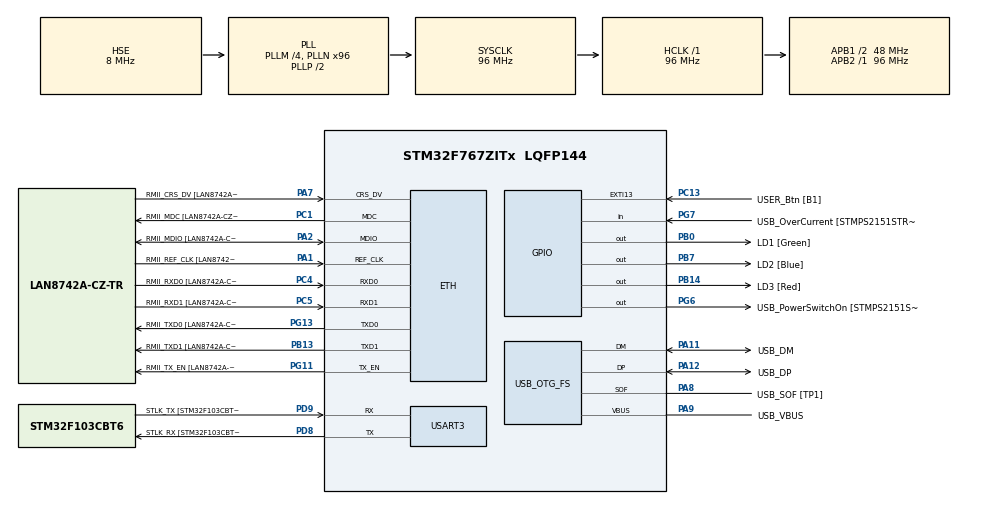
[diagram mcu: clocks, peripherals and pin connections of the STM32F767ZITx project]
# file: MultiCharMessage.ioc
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ETH.MediaInterface=HAL_ETH_RMII_MODE
ETH.PHY_Name=LAN8742A_PHY_ADDRESS
ETH.PHY_Value=0
ETH.PhyAddress=0
Mcu.Family=STM32F7
Mcu.Name=STM32F767ZITx
Mcu.Package=LQFP144
NVIC.PriorityGroup=NVIC_PRIORITYGROUP_4
NVIC.USART3_IRQn=true\:0\:0\:false\:false\:true\:true\:true\:true
PA1.GPIO_Label=RMII_REF_CLK [LAN8742A-CZ-TR_REFCLK0]
PA1.Mode=RMII
PA1.Signal=ETH_REF_CLK
PA10.GPIO_Label=USB_ID
PA10.Signal=USB_OTG_FS_ID
PA11.GPIO_Label=USB_DM
PA11.Mode=Device_Only
PA11.Signal=USB_OTG_FS_DM
PA12.GPIO_Label=USB_DP
PA12.Mode=Device_Only
PA12.Signal=USB_OTG_FS_DP
PA13.GPIO_Label=TMS
PA13.Mode=Serial_Wire
PA13.Signal=SYS_JTMS-SWDIO
PA14.GPIO_Label=TCK
PA14.Mode=Serial_Wire
PA14.Signal=SYS_JTCK-SWCLK
PA2.GPIO_Label=RMII_MDIO [LAN8742A-CZ-TR_MDIO]
PA2.Mode=RMII
PA2.Signal=ETH_MDIO
PA7.GPIO_Label=RMII_CRS_DV [LAN8742A-CZ-TR_CRS_DV]
PA7.Mode=RMII
PA7.Signal=ETH_CRS_DV
PA8.GPIO_Label=USB_SOF [TP1]
PA8.Mode=Activate_SOF_FS
PA8.Signal=USB_OTG_FS_SOF
PA9.GPIO_Label=USB_VBUS
PA9.Mode=Activate_VBUS
PA9.Signal=USB_OTG_FS_VBUS
PB0.GPIO_Label=LD1 [Green]
PB0.Signal=GPIO_Output
PB13.GPIO_Label=RMII_TXD1 [LAN8742A-CZ-TR_TXD1]
PB13.Mode=RMII
PB13.Signal=ETH_TXD1
PB14.GPIO_Label=LD3 [Red]
PB14.Signal=GPIO_Output
PB3.GPIO_Label=SWO
PB3.Signal=SYS_JTDO-SWO
PB7.GPIO_Label=LD2 [Blue]
PB7.Signal=GPIO_Output
PC1.GPIO_Label=RMII_MDC [LAN8742A-CZ-TR_MDC]
PC1.Mode=RMII
PC1.Signal=ETH_MDC
PC13.GPIO_Label=USER_Btn [B1]
PC13.Signal=GPXTI13
PC14/OSC32_IN.Mode=LSE-External-Oscillator
PC14/OSC32_IN.Signal=RCC_OSC32_IN
PC15/OSC32_OUT.Mode=LSE-External-Oscillator
PC15/OSC32_OUT.Signal=RCC_OSC32_OUT
PC4.GPIO_Label=RMII_RXD0 [LAN8742A-CZ-TR_RXD0]
PC4.Mode=RMII
PC4.Signal=ETH_RXD0
PC5.GPIO_Label=RMII_RXD1 [LAN8742A-CZ-TR_RXD1]
PC5.Mode=RMII
PC5.Signal=ETH_RXD1
PD8.GPIO_Label=STLK_RX [STM32F103CBT6_PA3]
PD8.Mode=Asynchronous
PD8.Signal=USART3_TX
PD9.GPIO_Label=STLK_TX [STM32F103CBT6_PA2]
PD9.Mode=Asynchronous
PD9.Signal=USART3_RX
PG11.GPIO_Label=RMII_TX_EN [LAN8742A-CZ-TR_TXEN]
PG11.Mode=RMII
PG11.Signal=ETH_TX_EN
PG13.GPIO_Label=RMII_TXD0 [LAN8742A-CZ-TR_TXD0]
PG13.Mode=RMII
PG13.Signal=ETH_TXD0
PG6.GPIO_Label=USB_PowerSwitchOn [STMPS2151STR_EN]
PG6.Signal=GPIO_Output
PG7.GPIO_Label=USB_OverCurrent [STMPS2151STR_FAULT]
PG7.Signal=GPIO_Input
PH0/OSC_IN.GPIO_Label=MCO [STM32F103CBT6_PA8]
PH0/OSC_IN.Mode=HSE-External-Clock-Source
PH0/OSC_IN.Signal=RCC_OSC_IN
PH1/OSC_OUT.Mode=HSE-External-Clock-Source
PH1/OSC_OUT.Signal=RCC_OSC_OUT
ProjectManager.HeapSize=0x200
ProjectManager.StackSize=0x400
ProjectManager.TargetToolchain=STM32CubeIDE
RCC.48MHZClocksFreq_Value=24000000
RCC.AHBFreq_Value=96000000
RCC.APB1CLKDivider=RCC_HCLK_DIV2
RCC.APB1Freq_Value=48000000
RCC.APB1TimFreq_Value=96000000
RCC.APB2Freq_Value=96000000
RCC.APB2TimFreq_Value=96000000
RCC.CortexFreq_Value=96000000
RCC.HCLKFreq_Value=96000000
RCC.HSE_VALUE=8000000
RCC.HSI_VALUE=16000000
RCC.PLLM=4
RCC.PLLMUL=RCC_PLL_MUL9
RCC.PLLN=96
RCC.PLLQ=4
RCC.PRESCALERUSB=RCC_USBCLKSOURCE_PLL_DIV1_5
RCC.SYSCLKFreq_VALUE=96000000
RCC.SYSCLKSource=RCC_SYSCLKSOURCE_PLLCLK
RCC.SYSCLKSourceVirtual=RCC_SYSCLKSOURCE_PLLCLK
RCC.USBFreq_Value=48000000
RCC.VCOOutputFreq_Value=192000000
USART3.VirtualMode-Asynchronous=VM_ASYNC
USB_OTG_FS.VirtualMode=Device_Only
board=NUCLEO-F767ZI

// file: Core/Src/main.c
/* USER CODE BEGIN Header */
/**
  ******************************************************************************
  * @file           : main.c
  * @brief          : Main program body
  ******************************************************************************
  * @attention
  *
  * Copyright (c) 2025 STMicroelectronics.
  * All rights reserved.
  *
  * This software is licensed under terms that can be found in the LICENSE file
  * in the root directory of this software component.
  * If no LICENSE file comes with this software, it is provided AS-IS.
  *
  ******************************************************************************
  */
/* USER CODE END Header */
#include "main.h"
#include "string.h"

#if defined ( __ICCARM__ ) /*!< IAR Compiler */
#pragma location=0x2007c000
ETH_DMADescTypeDef  DMARxDscrTab[ETH_RX_DESC_CNT]; /* Ethernet Rx DMA Descriptors */
#pragma location=0x2007c0a0
ETH_DMADescTypeDef  DMATxDscrTab[ETH_TX_DESC_CNT]; /* Ethernet Tx DMA Descriptors */

#elif defined ( __CC_ARM )  /* MDK ARM Compiler */

__attribute__((at(0x2007c000))) ETH_DMADescTypeDef  DMARxDscrTab[ETH_RX_DESC_CNT]; /* Ethernet Rx DMA Descriptors */
__attribute__((at(0x2007c0a0))) ETH_DMADescTypeDef  DMATxDscrTab[ETH_TX_DESC_CNT]; /* Ethernet Tx DMA Descriptors */

#elif defined ( __GNUC__ ) /* GNU Compiler */

ETH_DMADescTypeDef DMARxDscrTab[ETH_RX_DESC_CNT] __attribute__((section(".RxDecripSection"))); /* Ethernet Rx DMA Descriptors */
ETH_DMADescTypeDef DMATxDscrTab[ETH_TX_DESC_CNT] __attribute__((section(".TxDecripSection")));   /* Ethernet Tx DMA Descriptors */
#endif

ETH_TxPacketConfig TxConfig;

ETH_HandleTypeDef heth;

UART_HandleTypeDef huart3;

PCD_HandleTypeDef hpcd_USB_OTG_FS;

void SystemClock_Config(void);
static void MX_GPIO_Init(void);
static void MX_ETH_Init(void);
static void MX_USART3_UART_Init(void);
static void MX_USB_OTG_FS_PCD_Init(void);

/* USER CODE BEGIN 0 */
uint8_t rx_byte;
#define MAX_LEN 100
char rx_buffer[MAX_LEN];
uint8_t idx = 0;

void HAL_UART_RxCpltCallback(UART_HandleTypeDef *huart) {
    if (huart->Instance == USART3) {
        if (rx_byte == '\r' || rx_byte == '\n') {
            rx_buffer[idx] = '\0'; // null terminate
            HAL_UART_Transmit(&huart3, (uint8_t*)"\nYou said: ", 11, HAL_MAX_DELAY);
            HAL_UART_Transmit(&huart3, (uint8_t*)rx_buffer, strlen(rx_buffer), HAL_MAX_DELAY);
            HAL_UART_Transmit(&huart3, (uint8_t*)"\r\n", 2, HAL_MAX_DELAY);
            idx = 0; // reset buffer
        } else {
            rx_buffer[idx++] = rx_byte;
            if (idx >= MAX_LEN) idx = 0; // simple overflow protection
        }

        HAL_UART_Receive_IT(&huart3, &rx_byte, 1);
    }
}

/* USER CODE END 0 */

int main(void)
{

  /* MCU Configuration--------------------------------------------------------*/

  /* Reset of all peripherals, Initializes the Flash interface and the Systick. */
  HAL_Init();

  /* Configure the system clock */
  SystemClock_Config();

  /* Initialize all configured peripherals */
  MX_GPIO_Init();
  MX_ETH_Init();
  MX_USART3_UART_Init();
  MX_USB_OTG_FS_PCD_Init();
  /* USER CODE BEGIN 2 */
  HAL_UART_Receive_IT(&huart3, &rx_byte, 1);

  /* USER CODE END 2 */

  /* Infinite loop */
  while (1)
  {

  }
}

void SystemClock_Config(void)
{
  RCC_OscInitTypeDef RCC_OscInitStruct = {0};
  RCC_ClkInitTypeDef RCC_ClkInitStruct = {0};

  /** Configure LSE Drive Capability
  */
  HAL_PWR_EnableBkUpAccess();

  /** Configure the main internal regulator output voltage
  */
  __HAL_RCC_PWR_CLK_ENABLE();
  __HAL_PWR_VOLTAGESCALING_CONFIG(PWR_REGULATOR_VOLTAGE_SCALE3);

  /** Initializes the RCC Oscillators according to the specified parameters
  * in the RCC_OscInitTypeDef structure.
  */
  RCC_OscInitStruct.OscillatorType = RCC_OSCILLATORTYPE_HSE;
  RCC_OscInitStruct.HSEState = RCC_HSE_BYPASS;
  RCC_OscInitStruct.PLL.PLLState = RCC_PLL_ON;
  RCC_OscInitStruct.PLL.PLLSource = RCC_PLLSOURCE_HSE;
  RCC_OscInitStruct.PLL.PLLM = 4;
  RCC_OscInitStruct.PLL.PLLN = 96;
  RCC_OscInitStruct.PLL.PLLP = RCC_PLLP_DIV2;
  RCC_OscInitStruct.PLL.PLLQ = 4;
  RCC_OscInitStruct.PLL.PLLR = 2;
  if (HAL_RCC_OscConfig(&RCC_OscInitStruct) != HAL_OK)
  {
    Error_Handler();
  }

  /** Activate the Over-Drive mode
  */
  if (HAL_PWREx_EnableOverDrive() != HAL_OK)
  {
    Error_Handler();
  }

  /** Initializes the CPU, AHB and APB buses clocks
  */
  RCC_ClkInitStruct.ClockType = RCC_CLOCKTYPE_HCLK|RCC_CLOCKTYPE_SYSCLK
                              |RCC_CLOCKTYPE_PCLK1|RCC_CLOCKTYPE_PCLK2;
  RCC_ClkInitStruct.SYSCLKSource = RCC_SYSCLKSOURCE_PLLCLK;
  RCC_ClkInitStruct.AHBCLKDivider = RCC_SYSCLK_DIV1;
  RCC_ClkInitStruct.APB1CLKDivider = RCC_HCLK_DIV2;
  RCC_ClkInitStruct.APB2CLKDivider = RCC_HCLK_DIV1;

  if (HAL_RCC_ClockConfig(&RCC_ClkInitStruct, FLASH_LATENCY_3) != HAL_OK)
  {
    Error_Handler();
  }
}

static void MX_ETH_Init(void)
{

   static uint8_t MACAddr[6];

  heth.Instance = ETH;
  MACAddr[0] = 0x00;
  MACAddr[1] = 0x80;
  MACAddr[2] = 0xE1;
  MACAddr[3] = 0x00;
  MACAddr[4] = 0x00;
  MACAddr[5] = 0x00;
  heth.Init.MACAddr = &MACAddr[0];
  heth.Init.MediaInterface = HAL_ETH_RMII_MODE;
  heth.Init.TxDesc = DMATxDscrTab;
  heth.Init.RxDesc = DMARxDscrTab;
  heth.Init.RxBuffLen = 1524;

  if (HAL_ETH_Init(&heth) != HAL_OK)
  {
    Error_Handler();
  }

  memset(&TxConfig, 0 , sizeof(ETH_TxPacketConfig));
  TxConfig.Attributes = ETH_TX_PACKETS_FEATURES_CSUM | ETH_TX_PACKETS_FEATURES_CRCPAD;
  TxConfig.ChecksumCtrl = ETH_CHECKSUM_IPHDR_PAYLOAD_INSERT_PHDR_CALC;
  TxConfig.CRCPadCtrl = ETH_CRC_PAD_INSERT;

}

static void MX_USART3_UART_Init(void)
{

  huart3.Instance = USART3;
  huart3.Init.BaudRate = 115200;
  huart3.Init.WordLength = UART_WORDLENGTH_8B;
  huart3.Init.StopBits = UART_STOPBITS_1;
  huart3.Init.Parity = UART_PARITY_NONE;
  huart3.Init.Mode = UART_MODE_TX_RX;
  huart3.Init.HwFlowCtl = UART_HWCONTROL_NONE;
  huart3.Init.OverSampling = UART_OVERSAMPLING_16;
  huart3.Init.OneBitSampling = UART_ONE_BIT_SAMPLE_DISABLE;
  huart3.AdvancedInit.AdvFeatureInit = UART_ADVFEATURE_NO_INIT;
  if (HAL_UART_Init(&huart3) != HAL_OK)
  {
    Error_Handler();
  }

}

static void MX_USB_OTG_FS_PCD_Init(void)
{

  hpcd_USB_OTG_FS.Instance = USB_OTG_FS;
  hpcd_USB_OTG_FS.Init.dev_endpoints = 6;
  hpcd_USB_OTG_FS.Init.speed = PCD_SPEED_FULL;
  hpcd_USB_OTG_FS.Init.dma_enable = DISABLE;
  hpcd_USB_OTG_FS.Init.phy_itface = PCD_PHY_EMBEDDED;
  hpcd_USB_OTG_FS.Init.Sof_enable = ENABLE;
  hpcd_USB_OTG_FS.Init.low_power_enable = DISABLE;
  hpcd_USB_OTG_FS.Init.lpm_enable = DISABLE;
  hpcd_USB_OTG_FS.Init.vbus_sensing_enable = ENABLE;
  hpcd_USB_OTG_FS.Init.use_dedicated_ep1 = DISABLE;
  if (HAL_PCD_Init(&hpcd_USB_OTG_FS) != HAL_OK)
  {
    Error_Handler();
  }

}

static void MX_GPIO_Init(void)
{
  GPIO_InitTypeDef GPIO_InitStruct = {0};

  /* GPIO Ports Clock Enable */
  __HAL_RCC_GPIOC_CLK_ENABLE();
  __HAL_RCC_GPIOH_CLK_ENABLE();
  __HAL_RCC_GPIOA_CLK_ENABLE();
  __HAL_RCC_GPIOB_CLK_ENABLE();
  __HAL_RCC_GPIOD_CLK_ENABLE();
  __HAL_RCC_GPIOG_CLK_ENABLE();

  /*Configure GPIO pin Output Level */
  HAL_GPIO_WritePin(GPIOB, LD1_Pin|LD3_Pin|LD2_Pin, GPIO_PIN_RESET);

  /*Configure GPIO pin Output Level */
  HAL_GPIO_WritePin(USB_PowerSwitchOn_GPIO_Port, USB_PowerSwitchOn_Pin, GPIO_PIN_RESET);

  /*Configure GPIO pin : USER_Btn_Pin */
  GPIO_InitStruct.Pin = USER_Btn_Pin;
  GPIO_InitStruct.Mode = GPIO_MODE_IT_RISING;
  GPIO_InitStruct.Pull = GPIO_NOPULL;
  HAL_GPIO_Init(USER_Btn_GPIO_Port, &GPIO_InitStruct);

  /*Configure GPIO pins : LD1_Pin LD3_Pin LD2_Pin */
  GPIO_InitStruct.Pin = LD1_Pin|LD3_Pin|LD2_Pin;
  GPIO_InitStruct.Mode = GPIO_MODE_OUTPUT_PP;
  GPIO_InitStruct.Pull = GPIO_NOPULL;
  GPIO_InitStruct.Speed = GPIO_SPEED_FREQ_LOW;
  HAL_GPIO_Init(GPIOB, &GPIO_InitStruct);

  /*Configure GPIO pin : USB_PowerSwitchOn_Pin */
  GPIO_InitStruct.Pin = USB_PowerSwitchOn_Pin;
  GPIO_InitStruct.Mode = GPIO_MODE_OUTPUT_PP;
  GPIO_InitStruct.Pull = GPIO_NOPULL;
  GPIO_InitStruct.Speed = GPIO_SPEED_FREQ_LOW;
  HAL_GPIO_Init(USB_PowerSwitchOn_GPIO_Port, &GPIO_InitStruct);

  /*Configure GPIO pin : USB_OverCurrent_Pin */
  GPIO_InitStruct.Pin = USB_OverCurrent_Pin;
  GPIO_InitStruct.Mode = GPIO_MODE_INPUT;
  GPIO_InitStruct.Pull = GPIO_NOPULL;
  HAL_GPIO_Init(USB_OverCurrent_GPIO_Port, &GPIO_InitStruct);

}

void Error_Handler(void)
{
  __disable_irq();
  while (1)
  {
  }
}
